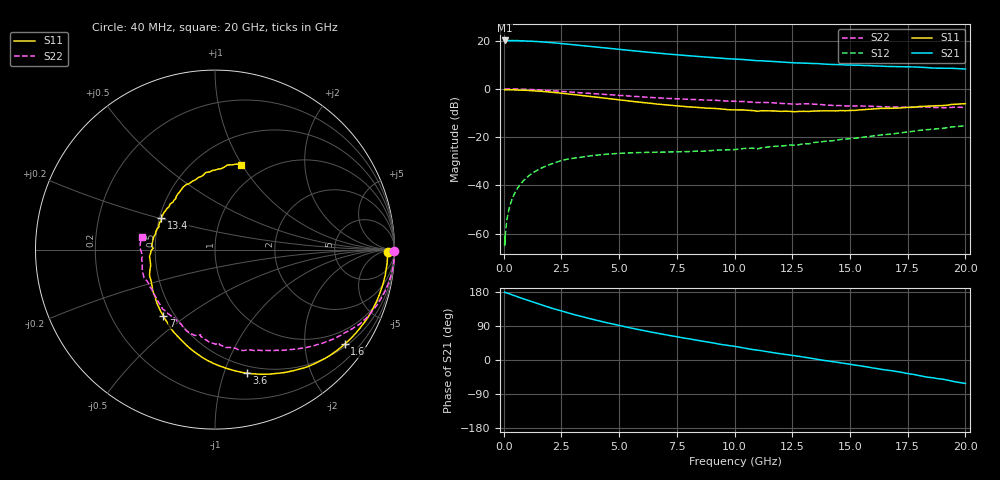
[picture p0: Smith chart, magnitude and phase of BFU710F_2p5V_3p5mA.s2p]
! Filename:  P:\Prog\Test\Noise\ATS_data\Testdata_Net\BFU710\BFU710_2W_A1_2.5V3.5mA_D.s2p
! Date/Time: Fri 29/Apr/2011 13:26:29
! BFU710_2W_A1_2.5V3.5mA
! bias mode 1: Vout= 2.5000 V, Iout= 3.4750 mA, Vin= 0.8105 V, Iin= 0.0114 mA
! Date/time Wed Mar 16 12:27:15 2011
! Device data file deembeded for feedlines and parallel
! Original file: \BFU710\BFU710_2W_A1_2.5V3.5mA_R.s2p
! Feed-files: PR003V01_101208_Feed1.s2p, PR003V01_101208_Feed2.s2p
! Parallel-file: PR003V01_101208_Par.s2p
# MHz S MA R 50
!  Freq-MHz  S11-mag  S11-arg  S21-mag  S21-arg  S12-mag  S12-arg  S22-mag  S22-arg
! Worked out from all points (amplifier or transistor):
!   167 points, 40 MHz to 20 GHz, reference 50 ohm
!   highest |S21| = 20.1 dB at 50 MHz (marker M1)
!   |S21| within 3 dB of that: start of sweep to 4.311 GHz
!   unconditionally stable (mu >= 1): 7.365 GHz to 17.22 GHz
!   at 550 MHz: K = 0.03, MSG = 31.0 dB, |S12| = -42.0 dB
!   at 4.2 GHz: K = 0.51, MSG = 22.3 dB, |S12| = -27.3 dB
!   at 20 GHz: K = 0.79, MSG = 11.8 dB, |S12| = -15.3 dB
!   S11 on the Smith chart (normalised r, x): 40 MHz: 45, -19; 1.6 GHz: 0.56, -2.97; 3.6 GHz: 0.43, -1.20; 7 GHz: 0.44, -0.41; 13.4 GHz: 0.51, +0.21; 20 GHz: 0.79, +0.99
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40  0.9626 -0.9  10.09 178.8  0.0005481 77.5  0.9983 -0.3
50  0.9645 -1.6  10.12 178.2  0.0008667 47.8  0.9984 -0.5
60  0.9593 -1.3  10 178.1  0.0006129 77.8  0.9989 -0.6
100  0.9623 -2.1  10.04 177.7  0.001335 83.1  0.9988 -1.1
220  0.9615 -5.0  10.08 175.2  0.003072 87.8  0.9989 -2.6
500  0.9553 -11.5  10.01 169.1  0.007228 84.7  0.9958 -6.2
1000  0.9342 -22.9  9.884 158.4  0.01453 76.9  0.9806 -12.3
1600  0.8943 -36.1  9.518 146.2  0.02246 67.9  0.9519 -19.3
2300  0.8345 -51.0  8.933 132.7  0.03043 59.1  0.908 -27.1
2700  0.7943 -58.9  8.548 125.7  0.03442 53.4  0.875 -30.9
3400  0.7292 -71.8  7.926 114.3  0.03887 46.1  0.8282 -36.9
3600  0.7113 -75.4  7.754 111.2  0.04009 44.3  0.8145 -38.4
4400  0.6419 -89.0  7.103 99.3  0.04407 38.0  0.7665 -44.5
5200  0.579 -101.9  6.481 88.3  0.04662 32.7  0.7208 -50.1
6800  0.4777 -125.4  5.455 69.1  0.04896 26.0  0.6493 -60.0
7000  0.467 -128.2  5.347 66.8  0.04917 25.6  0.6399 -61.4
8800  0.399 -152.9  4.568 47.6  0.05201 24.7  0.5867 -72.5
10200  0.3665 -171.0  4.112 34.0  0.05652 25.3  0.5501 -82.1
13400  0.3469 149.3  3.363 3.7  0.07715 25.2  0.4846 -107.5
16800  0.3972 110.1  2.916 -28.2  0.1159 14.0  0.4212 -142.3
18200  0.434 93.9  2.795 -43.6  0.1408 5.2  0.4228 -162.2
20000  0.4938 73.1  2.589 -61.9  0.1727 -7.3  0.4124 170.3
